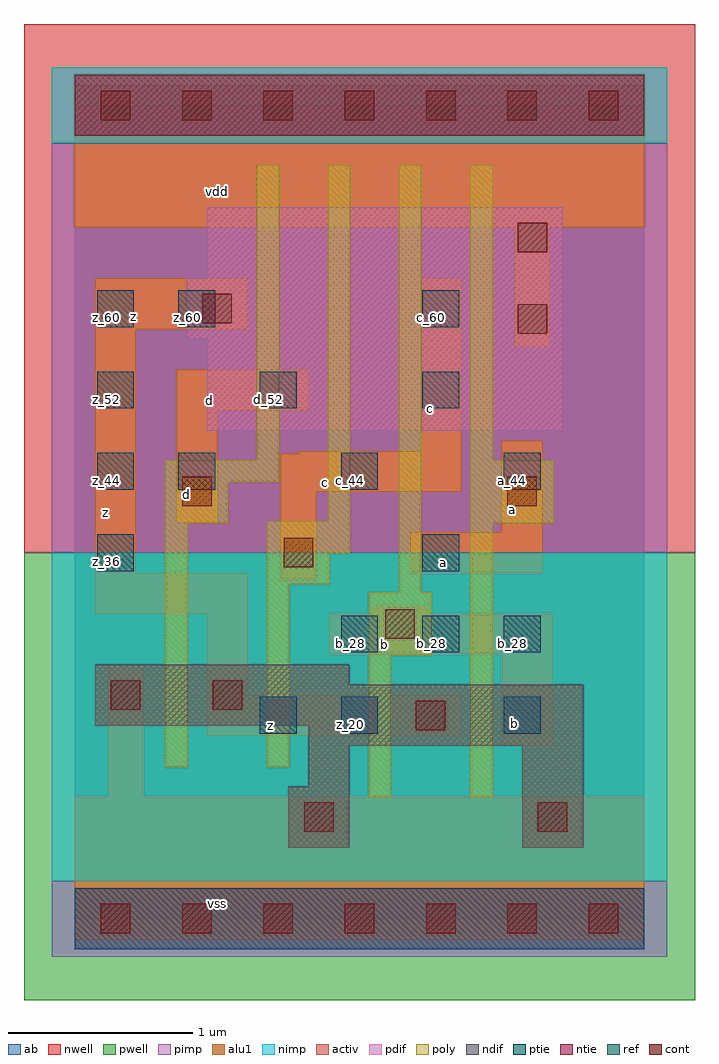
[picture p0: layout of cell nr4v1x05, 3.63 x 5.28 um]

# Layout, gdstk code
import gdstk
lib = gdstk.Library(unit=1e-6, precision=2.5e-09)
def R(c, l, rs):  # rectangles x0, y0, x1, y1
    for r in rs: c.add(gdstk.rectangle(r[:2], r[2:], *l))
def A(c, l, x, y, w, h, nx, ny, dx, dy):  # array of equal rectangles
    R(c, l, [(x+i*dx, y+j*dy, x+i*dx+w, y+j*dy+h) for i in range(nx) for j in range(ny)])
ndif = (3, 0)
pdif = (4, 0)
ntie = (5, 0)
ptie = (6, 0)
ref = (24, 0)
cont = (25, 0)
pwell = (41, 0)
nwell = (42, 0)
activ = (43, 0)
pimp = (44, 0)
nimp = (45, 0)
poly = (46, 0)
alu1 = (49, 0)
ab = (63, 0)

nr4v1x05 = lib.new_cell('nr4v1x05')
R(nr4v1x05, ndif, [(1.155,0.385,1.485,0.715), (2.42,0.385,2.75,0.935), (1.265,0.715,1.485,0.935), (1.265,0.935,2.75,1.045), (0.11,1.045,2.75,1.265), (0.11,1.265,1.485,1.375)])
R(nr4v1x05, pdif, [(0.715,2.64,2.64,3.135), (0.605,3.135,2.64,3.465), (0.715,3.465,2.64,3.85)])
R(nr4v1x05, ntie, [(0,4.235,3.08,4.565)])
R(nr4v1x05, ptie, [(0,-0.165,3.08,0.165)])
A(nr4v1x05, ref, 1.44, 1.44, 0.2, 0.2, 3, 1, 0.44, 0)
A(nr4v1x05, ref, 0.56, 2.32, 0.2, 0.2, 3, 1, 0.88, 0)
A(nr4v1x05, ref, 0.12, 2.76, 0.2, 0.2, 3, 1, 0.88, 0)
R(nr4v1x05, ref, [(1,1,1.2,1.2), (1.44,1,1.64,1.2), (2.32,1,2.52,1.2), (0.12,1.88,0.32,2.08), (1.88,1.88,2.08,2.08), (0.12,2.32,0.32,2.52), (0.12,3.2,0.32,3.4), (0.56,3.2,0.76,3.4), (1.88,3.2,2.08,3.4)])
A(nr4v1x05, cont, 0.14, -0.08, 0.16, 0.16, 7, 2, 0.44, 4.4)
R(nr4v1x05, cont, [(1.24,0.47,1.4,0.63), (2.505,0.47,2.665,0.63), (1.845,1.02,2.005,1.18), (0.195,1.13,0.355,1.29), (0.745,1.13,0.905,1.29), (1.68,1.515,1.84,1.675), (1.13,1.9,1.29,2.06), (0.58,2.23,0.74,2.39), (2.34,2.23,2.5,2.39), (2.395,3.165,2.555,3.325), (0.69,3.22,0.85,3.38), (2.395,3.605,2.555,3.765)])
R(nr4v1x05, pwell, [(-0.275,-0.44,3.355,1.98)])
R(nr4v1x05, nwell, [(-0.275,1.98,3.355,4.84)])
R(nr4v1x05, activ, [(0,-0.165,3.08,0.165), (1.155,0.385,1.485,0.715), (2.42,0.385,2.75,0.935), (1.265,0.715,1.485,0.935), (1.265,0.935,2.75,1.045), (0.11,1.045,2.75,1.265), (0.11,1.265,1.485,1.375), (0.715,2.64,2.64,3.135), (0.605,3.135,2.64,3.465), (0.715,3.465,2.64,3.85), (0,4.235,3.08,4.565)])
R(nr4v1x05, pimp, [(-0.125,-0.205,3.205,0.205), (-0.125,1.98,3.205,4.195)])
R(nr4v1x05, nimp, [(-0.125,0.205,3.205,1.98), (-0.125,4.195,3.205,4.605)])
R(nr4v1x05, poly, [(1.59,0.655,1.71,1.425), (2.14,0.655,2.26,2.14), (0.49,0.82,0.61,2.14), (1.04,0.82,1.16,1.81), (1.59,1.425,1.93,1.765), (1.755,1.765,1.875,4.075), (1.04,1.81,1.38,1.975), (1.04,1.975,1.49,2.15), (0.49,2.14,0.83,2.36), (2.14,2.14,2.59,2.48), (1.37,2.15,1.49,4.075), (0.49,2.36,1.105,2.48), (0.985,2.48,1.105,4.075), (2.14,2.48,2.26,4.075)])
R(nr4v1x05, alu1, [(0,-0.11,3.08,0.66), (0.18,0.66,0.37,1.36), (2.31,0.935,2.585,1.43), (0.715,0.99,2.09,1.21), (0.715,1.21,0.935,1.65), (1.375,1.43,2.585,1.65), (0.11,1.65,0.935,1.87), (1.61,1.65,1.91,1.69), (1.115,1.83,1.305,2.31), (0.11,1.87,0.33,3.19), (1.815,1.87,2.53,2.09), (2.31,2.09,2.53,2.585), (0.55,2.145,0.77,2.75), (1.115,2.31,2.09,2.515), (1.21,2.515,2.09,2.53), (1.87,2.53,2.09,3.465), (0.55,2.75,1.265,2.97), (2.38,3.095,2.57,3.74), (0.11,3.19,0.935,3.465), (0,3.74,3.08,4.51)])
R(nr4v1x05, ab, [(0,0,3.08,4.4)])
nr4v1x05.add(gdstk.Label('vss', (0.77,0.0825), layer=49, texttype=0))
nr4v1x05.add(gdstk.Label('b', (2.3775,1.0575), layer=49, texttype=0))
nr4v1x05.add(gdstk.Label('z', (1.0575,1.045), layer=49, texttype=0))
nr4v1x05.add(gdstk.Label('b', (1.6775,1.485), layer=49, texttype=0))
nr4v1x05.add(gdstk.Label('a', (1.9925,1.925), layer=49, texttype=0))
nr4v1x05.add(gdstk.Label('a', (2.365,2.2125), layer=49, texttype=0))
nr4v1x05.add(gdstk.Label('c', (1.3575,2.36), layer=49, texttype=0))
nr4v1x05.add(gdstk.Label('c', (1.925,2.7625), layer=49, texttype=0))
nr4v1x05.add(gdstk.Label('d', (0.605,2.295), layer=49, texttype=0))
nr4v1x05.add(gdstk.Label('d', (0.7275,2.805), layer=49, texttype=0))
nr4v1x05.add(gdstk.Label('z', (0.165,2.2), layer=49, texttype=0))
nr4v1x05.add(gdstk.Label('z', (0.315,3.2575), layer=49, texttype=0))
nr4v1x05.add(gdstk.Label('vdd', (0.77,3.9325), layer=49, texttype=0))
nr4v1x05.add(gdstk.Label('d_44', (0.61,2.37), layer=24, texttype=0))
nr4v1x05.add(gdstk.Label('z_60', (0.61,3.25), layer=24, texttype=0))
nr4v1x05.add(gdstk.Label('z_20', (1.05,1.05), layer=24, texttype=0))
nr4v1x05.add(gdstk.Label('d_52', (1.05,2.81), layer=24, texttype=0))
nr4v1x05.add(gdstk.Label('z_20', (1.49,1.05), layer=24, texttype=0))
nr4v1x05.add(gdstk.Label('b_28', (1.49,1.49), layer=24, texttype=0))
nr4v1x05.add(gdstk.Label('c_44', (1.49,2.37), layer=24, texttype=0))
nr4v1x05.add(gdstk.Label('b_28', (1.93,1.49), layer=24, texttype=0))
nr4v1x05.add(gdstk.Label('a_36', (1.93,1.93), layer=24, texttype=0))
nr4v1x05.add(gdstk.Label('c_52', (1.93,2.81), layer=24, texttype=0))
nr4v1x05.add(gdstk.Label('c_60', (1.93,3.25), layer=24, texttype=0))
nr4v1x05.add(gdstk.Label('z_36', (0.17,1.93), layer=24, texttype=0))
nr4v1x05.add(gdstk.Label('z_44', (0.17,2.37), layer=24, texttype=0))
nr4v1x05.add(gdstk.Label('z_52', (0.17,2.81), layer=24, texttype=0))
nr4v1x05.add(gdstk.Label('z_60', (0.17,3.25), layer=24, texttype=0))
nr4v1x05.add(gdstk.Label('b_20', (2.37,1.05), layer=24, texttype=0))
nr4v1x05.add(gdstk.Label('b_28', (2.37,1.49), layer=24, texttype=0))
nr4v1x05.add(gdstk.Label('a_44', (2.37,2.37), layer=24, texttype=0))

lib.write_gds('nr4v1x05.gds')
